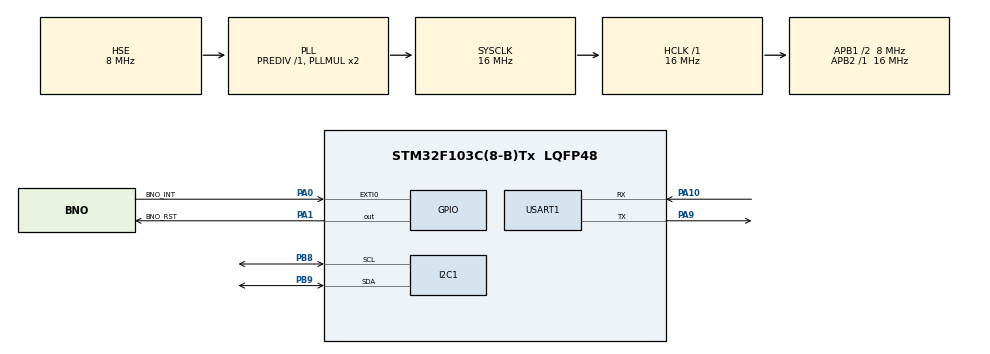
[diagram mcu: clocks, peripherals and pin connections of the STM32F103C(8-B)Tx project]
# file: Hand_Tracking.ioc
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Dma.Request0=USART1_TX
Dma.USART1_TX.0.Direction=DMA_MEMORY_TO_PERIPH
Dma.USART1_TX.0.Instance=DMA1_Channel4
Dma.USART1_TX.0.MemDataAlignment=DMA_MDATAALIGN_BYTE
Dma.USART1_TX.0.MemInc=DMA_MINC_ENABLE
Dma.USART1_TX.0.Mode=DMA_NORMAL
Dma.USART1_TX.0.PeriphDataAlignment=DMA_PDATAALIGN_BYTE
Dma.USART1_TX.0.PeriphInc=DMA_PINC_DISABLE
Dma.USART1_TX.0.Priority=DMA_PRIORITY_LOW
I2C1.I2C_Mode=I2C_Fast
Mcu.Family=STM32F1
Mcu.Name=STM32F103C(8-B)Tx
Mcu.Package=LQFP48
NVIC.DMA1_Channel4_IRQn=true\:0\:0\:false\:false\:true\:false\:true\:true
NVIC.EXTI0_IRQn=true\:0\:0\:false\:false\:true\:true\:true\:true
NVIC.I2C1_ER_IRQn=true\:0\:0\:false\:false\:true\:true\:true\:true
NVIC.I2C1_EV_IRQn=true\:0\:0\:false\:false\:true\:true\:true\:true
NVIC.PriorityGroup=NVIC_PRIORITYGROUP_4
NVIC.TIM2_IRQn=true\:0\:0\:false\:false\:true\:true\:true\:true
NVIC.USART1_IRQn=true\:0\:0\:false\:false\:true\:true\:true\:true
PA0-WKUP.GPIO_Label=BNO_INT
PA0-WKUP.GPIO_ModeDefaultEXTI=GPIO_MODE_IT_FALLING
PA0-WKUP.GPIO_PuPd=GPIO_PULLUP
PA0-WKUP.Signal=GPXTI0
PA1.GPIO_Label=BNO_RST
PA1.GPIO_ModeDefaultOutputPP=GPIO_MODE_OUTPUT_PP
PA1.GPIO_PuPd=GPIO_NOPULL
PA1.GPIO_Speed=GPIO_SPEED_FREQ_LOW
PA1.PinState=GPIO_PIN_SET
PA1.Signal=GPIO_Output
PA10.Mode=Asynchronous
PA10.Signal=USART1_RX
PA13.Mode=Serial_Wire
PA13.Signal=SYS_JTMS-SWDIO
PA14.Mode=Serial_Wire
PA14.Signal=SYS_JTCK-SWCLK
PA2.Signal=ADCx_IN2
PA3.Signal=ADCx_IN3
PA4.Signal=ADCx_IN4
PA5.Signal=ADCx_IN5
PA6.Signal=ADCx_IN6
PA9.Mode=Asynchronous
PA9.Signal=USART1_TX
PB8.Mode=I2C
PB8.Signal=I2C1_SCL
PB9.Mode=I2C
PB9.Signal=I2C1_SDA
PD0-OSC_IN.Mode=HSE-External-Oscillator
PD0-OSC_IN.Signal=RCC_OSC_IN
PD1-OSC_OUT.Mode=HSE-External-Oscillator
PD1-OSC_OUT.Signal=RCC_OSC_OUT
ProjectManager.HeapSize=0x200
ProjectManager.StackSize=0x400
ProjectManager.TargetToolchain=STM32CubeIDE
RCC.AHBFreq_Value=16000000
RCC.APB1CLKDivider=RCC_HCLK_DIV2
RCC.APB1Freq_Value=8000000
RCC.APB1TimFreq_Value=16000000
RCC.APB2Freq_Value=16000000
RCC.APB2TimFreq_Value=16000000
RCC.HCLKFreq_Value=16000000
RCC.PLLSourceVirtual=RCC_PLLSOURCE_HSE
RCC.SYSCLKFreq_VALUE=16000000
RCC.SYSCLKSource=RCC_SYSCLKSOURCE_PLLCLK
RCC.USBFreq_Value=16000000
SH.ADCx_IN2.0=ADC1_IN2
SH.ADCx_IN3.0=ADC1_IN3
SH.ADCx_IN4.0=ADC1_IN4
SH.ADCx_IN5.0=ADC1_IN5
SH.ADCx_IN6.0=ADC1_IN6
TIM2.Period=199
TIM2.Prescaler=7199
USART1.VirtualMode=VM_ASYNC
VP_TIM2_VS_ClockSourceINT.Mode=Internal
board=custom

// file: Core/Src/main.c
/* USER CODE BEGIN Header */
/**
  ******************************************************************************
  * @file           : main.c
  * @brief          : Main program body
  ******************************************************************************
  */
/* USER CODE END Header */
#include "main.h"
#include "dma.h"
#include "i2c.h"
#include "tim.h"
#include "usart.h"
#include "gpio.h"

/* USER CODE BEGIN Includes */
#include "sh2.h"
#include "sh2_SensorValue.h"
#include <stdio.h>
#include <string.h>
/* USER CODE END Includes */

/* USER CODE BEGIN PD */
#define CMD_ACK_READY 0x01
#define CMD_START     0xAA
#define CMD_RESET     0xFF

/* BNO08x RST pin control */
#define BNO_RST_HIGH()  HAL_GPIO_WritePin(GPIOA, GPIO_PIN_1, GPIO_PIN_SET)
#define BNO_RST_LOW()   HAL_GPIO_WritePin(GPIOA, GPIO_PIN_1, GPIO_PIN_RESET)

/* BNO08x INT pin control */
#define BNO_INT_PORT    GPIOA
#define BNO_INT_PIN     GPIO_PIN_0
/* USER CODE END PD */

/* USER CODE BEGIN PV */
extern sh2_Hal_t cevahub_hal;
extern TIM_HandleTypeDef htim2;

volatile uint8_t streaming_active   = 0;
volatile uint8_t waiting_for_start   = 0;
volatile uint8_t init_sensor_trigger = 0;
volatile uint8_t reset_requested     = 0;
volatile uint8_t imu_connected       = 0;

uint8_t  bno_address = 0;
uint8_t  rx_buffer;
char msg[128];
/* USER CODE END PV */

void SystemClock_Config(void);

/* USER CODE BEGIN 0 */
void sensor_event_handler(void *cookie, sh2_SensorEvent_t *pEvent)
{
    sh2_SensorValue_t value;

    if (sh2_decodeSensorEvent(&value, pEvent) != 0) {
        return;
    }

    if (value.sensorId == SH2_ROTATION_VECTOR && streaming_active && imu_connected) {
        // Safe integer parsing: Scaled up x10000 to keep precision without breaking the runtime
        int32_t w_int = (int32_t)(value.un.rotationVector.real * 10000.0f);
        int32_t x_int = (int32_t)(value.un.rotationVector.i * 10000.0f);
        int32_t y_int = (int32_t)(value.un.rotationVector.j * 10000.0f);
        int32_t z_int = (int32_t)(value.un.rotationVector.k * 10000.0f);

        sprintf(msg, "Q:%ld,%ld,%ld,%ld\r\n", w_int, x_int, y_int, z_int);
        HAL_UART_Transmit(&huart1, (uint8_t*)msg, strlen(msg), 10);
    }
}

void HAL_UART_RxCpltCallback(UART_HandleTypeDef *huart)
{
    if (huart->Instance == USART1) {
        if (rx_buffer == CMD_ACK_READY) {
            waiting_for_start = 1;
            streaming_active  = 0;
            char msg_out[] = "WAITING_FOR_START\r\n";
            HAL_UART_Transmit(&huart1, (uint8_t*)msg_out, strlen(msg_out), 50);
        }
        else if (rx_buffer == CMD_START && waiting_for_start) {
            init_sensor_trigger = 1;
            waiting_for_start   = 0;
        }
        else if (rx_buffer == CMD_RESET) {
            reset_requested = 1;
        }
        HAL_UART_Receive_IT(&huart1, &rx_buffer, 1);
    }
}

uint8_t init_ceva_sensor(void)
{
    if (bno_address == 0) return 0;

    if (sh2_open(&cevahub_hal, NULL, NULL) == 0) {
        sh2_setSensorCallback(sensor_event_handler, NULL);

        sh2_SensorConfig_t config;
        config.changeSensitivityEnabled = false;
        config.wakeupEnabled            = false;
        config.alwaysOnEnabled          = false;
        config.changeSensitivity        = 0;
        config.reportInterval_us        = 16667; /* ~60Hz */
        config.batchInterval_us         = 0;
        config.sensorSpecific           = 0;

        if (sh2_setSensorConfig(SH2_ROTATION_VECTOR, &config) == 0) {
            return 1;
        }
    }
    return 0;
}
/* USER CODE END 0 */

int main(void)
{
  HAL_Init();
  SystemClock_Config();

  /* Initialize peripherals */
  MX_GPIO_Init();
  MX_DMA_Init();
  MX_I2C1_Init();
  MX_USART1_UART_Init();
  MX_TIM2_Init();

  /* USER CODE BEGIN 2 */
      HAL_TIM_Base_Start(&htim2);

      HAL_UART_Transmit(&huart1, (uint8_t*)"\r\nSTM32 BOOTED\r\n", 17, 100);

      /* Hard Reset Line Pulse to force I2C bus synchronization */
      BNO_RST_LOW();
      HAL_Delay(30);
      BNO_RST_HIGH();
      HAL_Delay(150);

      /* Scan Loop */
      for (uint8_t addr = 0x01; addr < 0x7F; addr++) {
          if (HAL_I2C_IsDeviceReady(&hi2c1, addr << 1, 2, 10) == HAL_OK) {
              if (addr == 0x4A || addr == 0x4B) {
                  bno_address = addr;
                  sprintf(msg, "Target Match: BNO08x locked at address 0x%02X\r\n", addr);
                  HAL_UART_Transmit(&huart1, (uint8_t*)msg, strlen(msg), 100);
              }
          }
      }

      if (bno_address == 0) {
          HAL_UART_Transmit(&huart1, (uint8_t*)"NO BNO08x FOUND\r\n", 17, 100);
      } else {
          if (init_ceva_sensor()) {
              imu_connected    = 1;
              streaming_active = 1;
              HAL_UART_Transmit(&huart1, (uint8_t*)"INIT_SUCCESS: Streaming Active!\r\n", 33, 100);
          } else {
              HAL_UART_Transmit(&huart1, (uint8_t*)"INIT_FAILED\r\n", 13, 100);
          }
      }

      HAL_UART_Receive_IT(&huart1, &rx_buffer, 1);
  /* USER CODE END 2 */

  while (1)
  {
    /* USER CODE BEGIN 3 */
        if (imu_connected && streaming_active) {
            sh2_service();
        }

        if (init_sensor_trigger) {
            init_sensor_trigger = 0;
            if (init_ceva_sensor()) {
                imu_connected    = 1;
                streaming_active = 1;
            }
        }

        if (reset_requested) {
            reset_requested   = 0;
            streaming_active  = 0;
            waiting_for_start = 0;
            if (imu_connected) {
                sh2_close();
                imu_connected = 0;
            }
        }
  } /* USER CODE END 3 */
}

void SystemClock_Config(void)
{
  RCC_OscInitTypeDef RCC_OscInitStruct = {0};
  RCC_ClkInitTypeDef RCC_ClkInitStruct = {0};

  RCC_OscInitStruct.OscillatorType = RCC_OSCILLATORTYPE_HSE;
  RCC_OscInitStruct.HSEState = RCC_HSE_ON;
  RCC_OscInitStruct.HSEPredivValue = RCC_HSE_PREDIV_DIV1;
  RCC_OscInitStruct.HSIState = RCC_HSI_ON;
  RCC_OscInitStruct.PLL.PLLState = RCC_PLL_ON;
  RCC_OscInitStruct.PLL.PLLSource = RCC_PLLSOURCE_HSE;
  RCC_OscInitStruct.PLL.PLLMUL = RCC_PLL_MUL2;
  HAL_RCC_OscConfig(&RCC_OscInitStruct);

  RCC_ClkInitStruct.ClockType = RCC_CLOCKTYPE_HCLK|RCC_CLOCKTYPE_SYSCLK
                              |RCC_CLOCKTYPE_PCLK1|RCC_CLOCKTYPE_PCLK2;
  RCC_ClkInitStruct.SYSCLKSource = RCC_SYSCLKSOURCE_PLLCLK;
  RCC_ClkInitStruct.AHBCLKDivider = RCC_SYSCLK_DIV1;
  RCC_ClkInitStruct.APB1CLKDivider = RCC_HCLK_DIV2;
  RCC_ClkInitStruct.APB2CLKDivider = RCC_HCLK_DIV1;
  HAL_RCC_ClockConfig(&RCC_ClkInitStruct, FLASH_LATENCY_0);
}

void Error_Handler(void)
{
  __disable_irq();
  while (1) {}
}
